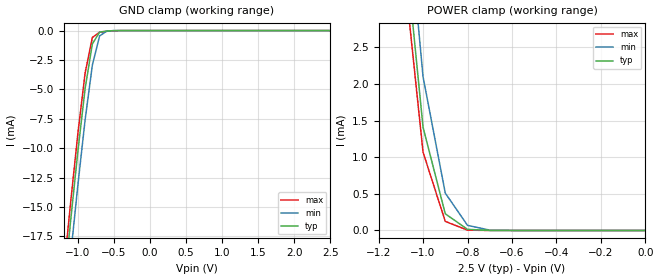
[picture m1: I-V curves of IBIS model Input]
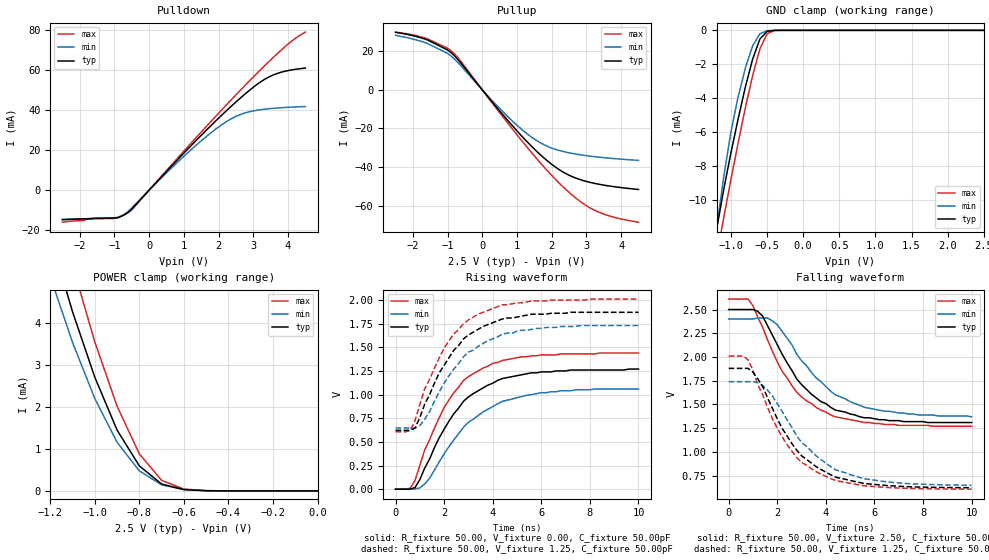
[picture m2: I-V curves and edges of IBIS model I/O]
| IBIS file 2mx32.ibs created by s2ibis2 version 0.91BETA
| North Carolina State University Electronics Research Laboratory  1995
[IBIS ver]   2.1
[File name]   2mx32.ibs
[File Rev]   1.0
[Date]   10/29/2000
[Source]
[Notes]
[Disclaimer]
[Copyright]
|   Component 2mx32_DDR_SDRAM
[Component]   2mx32_DDR_SDRAM
[Manufacturer]   HEI_Memory_R&D
[Package]
| variable   typ   min   max
R_pkg   150.00m   80.00m   200.00m
L_pkg   5.61nH   4.14nH   7.12nH
C_pkg   1.03pF   780.00fF   1.39pF
[Pin]  signal_name   model_name   R_pin   L_pin   C_pin
1   DQ3   I/O
2   VDDQ   POWER
3   DQ4   I/O
4   DQ5   I/O
5   VSSQ   GND
6   DQ6   I/O
7   DQ7   I/O
8   VDDQ   POWER
9   DQ16   I/O
10   DQ17   I/O
11   VSSQ   GND
12   DQ18   I/O
13   DQ19   I/O
14   VDDQ   POWER
15   VDD   POWER
16   VSS   GND
17   DQ20   I/O
18   DQ21   I/O
19   VSSQ   GND
20   DQ22   I/O
21   DQ23   I/O
22   VDDQ   POWER
23   DM0   Input   NA   5.47nH   1.14pF
24   DM2   Input   NA   5.74nH   1.17pF
25   WEB   Input   NA   6.02nH   1.18pF
26   CASB   Input   NA   6.27nH   1.22pF
27   RASB   Input   NA   6.58nH   1.26pF
28   CSB   Input   NA   6.81nH   1.29pF
29   BA0   Input   NA   7.03nH   1.34pF
30   BA1   Input   NA   7.08nH   1.39pF
31   A0   Input   NA   7.12nH   1.25pF
32   A1   Input   NA   6.56nH   1.13pF
33   A2   Input   NA   6.10nH   1.04pF
34   A3   Input   NA   5.70nH   820.00fF
35   VDD   POWER
36   A10   Input   NA   5.00nH   780.00fF
37   NC   NC
38   NC   NC
39   NC   NC
40   NC   NC
41   NC   NC
42   NC   NC
43   NC   NC
44   NC   NC
45   A9   Input   NA   5.00nH   780.00fF
46   VSS   GND   NA   NA   NA
47   A4   Input   NA   5.70nH   820.00fF
48   A5   Input   NA   6.10nH   1.04pF
49   A6   Input   NA   6.56nH   1.13pF
50   A7   Input   NA   7.12nH   1.24pF
51   A8   Input   NA   7.08nH   1.18pF
52   NC   NC   NA   NA   NA
53   CKE   Input   NA   6.81nH   1.11pF
54   CLKB   Input   NA   6.58nH   1.26pF
55   CLK   Input   NA   6.27nH   1.22pF
56   DM1   Input   NA   6.02nH   1.18pF
57   DM3   Input   NA   5.74nH   1.17pF
58   VREF   POWER   NA   NA   NA
59   VDDQ   POWER   NA   NA   NA
60   DQ8   I/O
61   DQ9   I/O
62   VSSQ   GND
63   DQ10   I/O
64   DQ11   I/O
65   VDD   POWER
66   VSS   GND
67   VDDQ   POWER
68   DQ12   I/O
69   DQ13   I/O
70   VSSQ   GND
71   DQ14   I/O
72   DQ15   I/O
73   VDDQ   POWER
74   DQ24   I/O
75   DQ25   I/O
76   VSSQ   GND
77   DQ26   I/O
78   DQ27   I/O
79   VDDQ   POWER
80   DQ28   I/O
81   DQ29   I/O
82   VSSQ   GND
83   DQ30   I/O
84   DQ31   I/O
85   VSS   GND
86   VDDQ   POWER
87   NC   NC
88   NC   NC
89   NC   NC
90   NC   NC
91   NC   NC
92   VSSQ   GND
93   NC   NC
94   DQS   I/O
95   VDDQ   POWER
96   VDD   POWER
97   DQ0   I/O
98   DQ1   I/O
99   VSSQ   GND
100   DQ2   I/O
| Models and submodels in the file (2): Input (Input), I/O (I/O)
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|   Model Input
[Model]   Input
Model_type   Input
Polarity   Inverting
Vinl =   1.07V
Vinh =   1.43V
C_comp   1.50pF   1.40pF   1.60pF
[Temperature Range]   25.00   70.00   0.00
[Voltage Range]   2.50V   2.30V   2.70V
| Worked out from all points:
|   GND clamp passes 1 mA (typ) near -0.79 V on its own axis
|   POWER clamp passes 1 mA (typ) near -0.97 V on its own axis
[GND_clamp]
| voltage   I(typ)   I(min)   I(max)
-2.5V     -107.8mA   -110.4mA   -106.4mA
-1.2V     -22.24mA   -25.16mA   -20.67mA
-1.1V     -16.09mA   -19.01mA   -14.53mA
-1V       -10.21mA   -13.08mA   -8.7mA
-900mV    -4.9mA     -7.56mA    -3.58mA
-800mV    -1.13mA    -2.93mA    -580.1uA
-700mV    -132.8uA   -456.2uA   -141.2uA
-600mV    -35.05uA   -38.85uA   -62.83uA
-500mV    -5.43uA    -3.24uA    -15.17uA
2.5V      10.28pA    11.62pA    10.02pA
[POWER_clamp]
| voltage   I(typ)   I(min)   I(max)
-2.5V     95.01mA    94.98mA    95.08mA
-1.1V     4.48mA     5.39mA     3.98mA
-1V       1.41mA     2.1mA      1.07mA
-900mV    227.7uA    510.3uA    123.9uA
-800mV    15.35uA    70.01uA    4.77uA
-700mV    457.2nA    4.72uA     86.16nA
0V        10.28pA    10.31pA    11.02pA
|   Model I/O
[Model]   I/O
Model_type   I/O
Polarity   Non-Inverting
Vinl =   1.07V
Vinh =   1.43V
C_comp   3.61pF   3.41pF   3.81pF
[Temperature Range]   25.00   70.00   0.00
[Voltage Range]   2.50V   2.30V   2.70V
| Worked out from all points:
|   slope of the pulldown table from 0 to 0.375 V, typ, clamps not added: 53.5 ohm
|   slope of the pullup table from 0 to 0.375 V, typ, clamps not added: 45.6 ohm
|   GND clamp passes 1 mA (typ) near -0.64 V on its own axis
|   POWER clamp passes 1 mA (typ) near -0.85 V on its own axis
|   rising waveform, R_fixture 50.00, V_fixture 0.00, C_fixture 50.00pF: 20-80 % time 1.97ns typ, 2.2ns min, 1.77ns max; typ from 0 V to 1.27 V
|   rising waveform, R_fixture 50.00, V_fixture 1.25, C_fixture 50.00pF: 20-80 % time 1.79ns typ, 1.94ns min, 1.74ns max; typ from 0.622 V to 1.87 V
|   falling waveform, R_fixture 50.00, V_fixture 2.50, C_fixture 50.00pF: 20-80 % time 1.97ns typ, 2.22ns min, 1.87ns max; typ from 2.5 V to 1.31 V
|   falling waveform, R_fixture 50.00, V_fixture 1.25, C_fixture 50.00pF: 20-80 % time 1.95ns typ, 2.11ns min, 1.84ns max; typ from 1.88 V to 0.624 V
[Pulldown]
| voltage   I(typ)   I(min)   I(max)
-2.5V     -14.77mA   -14.57mA   -16mA
-1V       -13.9mA    -13.78mA   -14.17mA
-900mV    -13.78mA   -13.58mA   -13.56mA
-600mV    -11.04mA   -10.55mA   -11.13mA
-400mV    -7.57mA    -7.08mA    -7.89mA
1.2V      22.02mA    20.01mA    23.25mA
1.8V      32.47mA    28.82mA    34.58mA
2.3V      40.76mA    34.91mA    43.82mA
2.8V      48.44mA    38.64mA    52.83mA
3.4V      55.93mA    40.47mA    63.21mA
4V        59.56mA    41.25mA    72.76mA
4.5V      60.8mA     41.64mA    78.75mA
[Pullup]
| voltage   I(typ)   I(min)   I(max)
-2.5V     29.84mA    28.28mA    29.98mA
-1.6V     26.06mA    24.22mA    26.64mA
-1V       20.72mA    18.93mA    21.62mA
-800mV    17.64mA    15.98mA    18.66mA
800mV     -17.21mA   -15.03mA   -18.75mA
1.3V      -27.07mA   -22.88mA   -29.94mA
1.8V      -35.66mA   -28.64mA   -40.43mA
2.4V      -43.33mA   -32.24mA   -51.51mA
2.8V      -46.4mA    -33.6mA    -57.58mA
3.1V      -47.93mA   -34.35mA   -61.14mA
3.7V      -49.95mA   -35.47mA   -65.58mA
4.5V      -51.64mA   -36.56mA   -68.61mA
[GND_clamp]
| voltage   I(typ)   I(min)   I(max)
-2.5V     -59.28mA   -60.66mA   -58.64mA
-1.2V     -11.78mA   -11.74mA   -13.38mA
-1.1V     -9.38mA    -8.63mA    -11.05mA
-1V       -7.22mA    -5.98mA    -8.79mA
-900mV    -5.21mA    -3.9mA     -6.62mA
-800mV    -3.33mA    -2.21mA    -4.55mA
-700mV    -1.7mA     -917.1uA   -2.67mA
-600mV    -517.5uA   -203.1uA   -1.1mA
-500mV    -60.43uA   -22.69uA   -195.9uA
-400mV    -3.47uA    -1.77uA    -10.91uA
2.5V      83.22pA    25.31nA    45.02pA
[POWER_clamp]
| voltage   I(typ)   I(min)   I(max)
-2.5V     40.01mA    35.91mA    44.16mA
-1.2V     6.07mA     5.11mA     7.44mA
-1.1V     4.27mA     3.54mA     5.38mA
-1V       2.71mA     2.2mA      3.55mA
-900mV    1.45mA     1.16mA     2.02mA
-800mV    596.1uA    477.9uA    881.7uA
-700mV    163.9uA    144.7uA    252.8uA
-600mV    30.71uA    34.2uA     45.08uA
-500mV    4.61uA     7.04uA     5.9uA
0V        83.22pA    82.31pA    88.68pA
[Ramp]
| variable   typ   min   max
dV/dt_r   760.80m/231.59p   640.20m/334.16p   862.80m/176.18p
dV/dt_f   717.00m/300.00p   626.40m/500.00p   796.20m/200.00p
[Rising Waveform]
R_fixture = 50.00
V_fixture = 0.00
C_fixture = 50.00pF
| time   V(typ)   V(min)   V(max)
0s        0V         0V         0V
600ps     1.17mV     413uV      9.19mV
800ps     16.75mV    2.65mV     91.13mV
1.4ns     318mV      114.3mV    522.5mV
2ns       634.1mV    374.2mV    863.7mV
2.8ns     930.3mV    655.3mV    1.15V
3.6ns     1.07V      815.6mV    1.28V
4.4ns     1.17V      927.9mV    1.36V
6ns       1.24V      1.02V      1.42V
10ns      1.27V      1.06V      1.44V
[Rising Waveform]
R_fixture = 50.00
V_fixture = 1.25
C_fixture = 50.00pF
| time   V(typ)   V(min)   V(max)
0s        622mV      646.5mV    607.3mV
600ps     621.3mV    646.1mV    619.7mV
800ps     645.8mV    644.3mV    723.2mV
1ns       757.2mV    671.8mV    897.4mV
1.8ns     1.23V      1.03V      1.39V
2.2ns     1.39V      1.2V       1.57V
2.8ns     1.59V      1.4V       1.75V
3.4ns     1.69V      1.51V      1.85V
5.2ns     1.83V      1.68V      1.97V
10ns      1.87V      1.73V      2.01V
[Falling Waveform]
R_fixture = 50.00
V_fixture = 2.50
C_fixture = 50.00pF
| time   V(typ)   V(min)   V(max)
0s        2.5V       2.4V       2.61V
800ps     2.5V       2.4V       2.61V
1.4ns     2.43V      2.41V      2.31V
1.8ns     2.23V      2.38V      2.06V
2.2ns     2.03V      2.27V      1.85V
2.8ns     1.77V      2.03V      1.63V
3.8ns     1.53V      1.74V      1.44V
4.4ns     1.44V      1.6V       1.37V
5.6ns     1.36V      1.47V      1.31V
10ns      1.31V      1.37V      1.27V
[Falling Waveform]
R_fixture = 50.00
V_fixture = 1.25
C_fixture = 50.00pF
| time   V(typ)   V(min)   V(max)
0s        1.88V      1.74V      2.01V
800ps     1.88V      1.74V      1.97V
1.4ns     1.69V      1.7V       1.6V
1.8ns     1.46V      1.59V      1.35V
2.4ns     1.17V      1.34V      1.08V
3ns       960.1mV    1.1V       891mV
3.6ns     845.3mV    959mV      792.5mV
4.4ns     736.1mV    812mV      699.7mV
5.6ns     667.8mV    717.4mV    643.5mV
10ns      623.7mV    649.6mV    608.5mV
